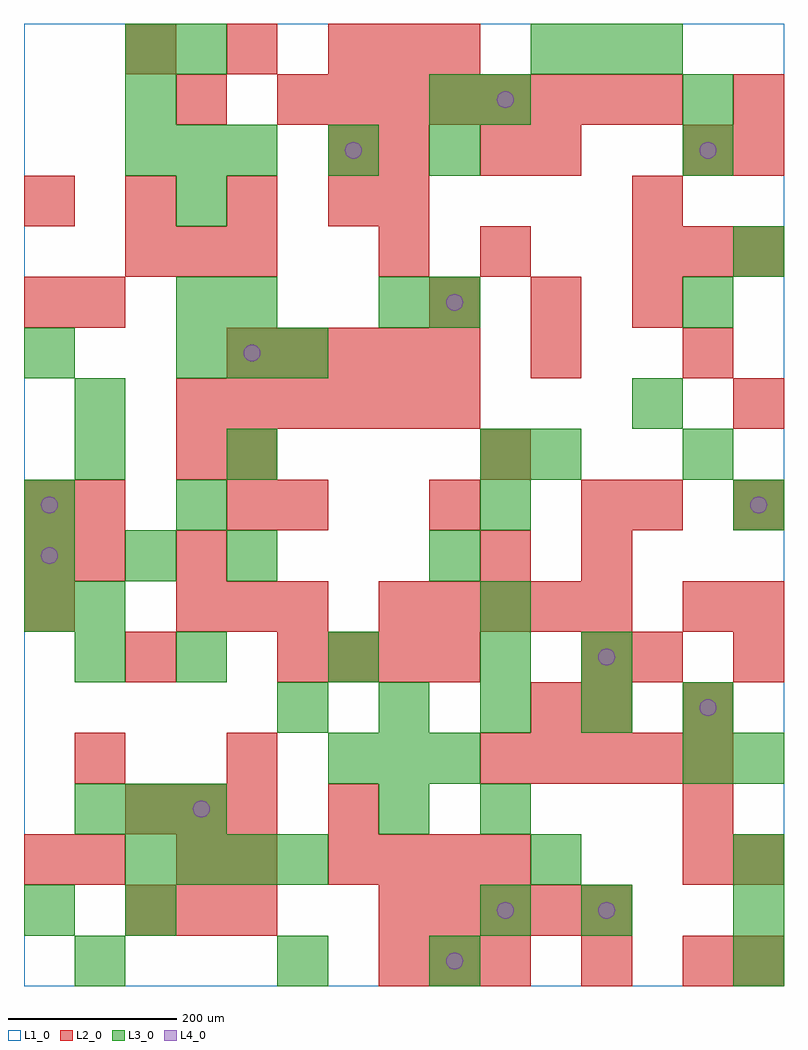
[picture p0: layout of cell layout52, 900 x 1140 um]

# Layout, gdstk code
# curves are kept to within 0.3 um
import gdstk
lib = gdstk.Library(unit=1e-6, precision=1e-09)
def R(c, l, rs):  # rectangles x0, y0, x1, y1
    for r in rs: c.add(gdstk.rectangle(r[:2], r[2:], *l))
def A(c, l, x, y, w, h, nx, ny, dx, dy):  # array of equal rectangles
    R(c, l, [(x+i*dx, y+j*dy, x+i*dx+w, y+j*dy+h) for i in range(nx) for j in range(ny)])
def P(c, l, *ps):  # polygons
    for p in ps: c.add(gdstk.Polygon(p, *l))
L1_0 = (1, 0)
L2_0 = (2, 0)
L3_0 = (3, 0)
L4_0 = (4, 0)

layout52 = lib.new_cell('layout52')
R(layout52, L1_0, [(0,0,900,1140)])
A(layout52, L2_0, 420, 0, 60, 60, 3, 1, 60, 0)
A(layout52, L2_0, 120, 60, 60, 60, 3, 2, 60, 120)
A(layout52, L2_0, 420, 60, 60, 60, 5, 2, 60, 360)
A(layout52, L2_0, 360, 120, 60, 60, 4, 1, 60, 0)
A(layout52, L2_0, 780, 180, 60, 60, 1, 3, 0, 120)
A(layout52, L2_0, 540, 240, 60, 60, 5, 1, 60, 0)
A(layout52, L2_0, 300, 360, 60, 60, 4, 1, 60, 0)
A(layout52, L2_0, 0, 420, 60, 60, 1, 3, 0, 60)
A(layout52, L2_0, 180, 420, 60, 60, 3, 1, 60, 0)
A(layout52, L2_0, 840, 420, 60, 60, 1, 3, 0, 120)
A(layout52, L2_0, 300, 540, 60, 60, 3, 1, 180, 0)
A(layout52, L2_0, 180, 660, 60, 60, 6, 1, 60, 0)
A(layout52, L2_0, 240, 720, 60, 60, 5, 1, 60, 0)
A(layout52, L2_0, 480, 780, 60, 60, 3, 1, 120, 0)
A(layout52, L2_0, 120, 840, 60, 60, 3, 1, 60, 0)
A(layout52, L2_0, 420, 840, 60, 60, 1, 3, 0, 60)
A(layout52, L2_0, 720, 840, 60, 60, 3, 1, 60, 0)
A(layout52, L2_0, 0, 900, 60, 60, 4, 1, 120, 0)
A(layout52, L2_0, 300, 1020, 60, 60, 8, 1, 60, 0)
A(layout52, L2_0, 120, 1080, 60, 60, 3, 1, 120, 0)
R(layout52, L2_0, [(660,0,720,60), (780,0,840,60), (840,0,900,60), (0,120,60,180), (60,120,120,180), (180,120,240,180), (240,120,300,180), (780,120,840,180), (840,120,900,180), (360,180,420,240), (60,240,120,300), (240,240,300,300), (600,300,660,360), (660,300,720,360), (120,360,180,420), (660,360,720,420), (720,360,780,420), (840,360,900,420), (60,480,120,540), (180,480,240,540), (540,480,600,540), (660,480,720,540), (60,540,120,600), (240,540,300,600), (720,540,780,600), (180,600,240,660), (240,600,300,660), (540,600,600,660), (600,720,660,780), (780,720,840,780), (0,780,60,840), (60,780,120,840), (540,840,600,900), (720,900,780,960), (360,960,420,1020), (540,960,600,1020), (600,960,660,1020), (780,960,840,1020), (840,960,900,1020), (180,1020,240,1080), (840,1020,900,1080), (420,1080,480,1140), (480,1080,540,1140)])
A(layout52, L3_0, 840, 0, 60, 60, 1, 3, 0, 60)
A(layout52, L3_0, 120, 120, 60, 60, 4, 1, 60, 0)
A(layout52, L3_0, 60, 180, 60, 60, 3, 1, 60, 0)
A(layout52, L3_0, 360, 240, 60, 60, 3, 1, 60, 0)
A(layout52, L3_0, 840, 240, 60, 60, 1, 3, 0, 300)
A(layout52, L3_0, 300, 300, 60, 60, 5, 1, 120, 0)
A(layout52, L3_0, 180, 360, 60, 60, 3, 1, 180, 0)
A(layout52, L3_0, 0, 480, 60, 60, 3, 1, 120, 0)
A(layout52, L3_0, 780, 600, 60, 60, 1, 3, 0, 180)
A(layout52, L3_0, 180, 720, 60, 60, 3, 1, 60, 0)
A(layout52, L3_0, 120, 960, 60, 60, 3, 1, 60, 0)
A(layout52, L3_0, 600, 1080, 60, 60, 3, 1, 60, 0)
R(layout52, L3_0, [(60,0,120,60), (300,0,360,60), (480,0,540,60), (0,60,60,120), (120,60,180,120), (540,60,600,120), (660,60,720,120), (600,120,660,180), (420,180,480,240), (540,180,600,240), (780,240,840,300), (60,360,120,420), (660,360,720,420), (0,420,60,480), (60,420,120,480), (540,420,600,480), (480,480,540,540), (0,540,60,600), (180,540,240,600), (540,540,600,600), (60,600,120,660), (240,600,300,660), (540,600,600,660), (600,600,660,660), (60,660,120,720), (720,660,780,720), (0,720,60,780), (180,780,240,840), (240,780,300,840), (420,780,480,840), (480,780,540,840), (180,900,240,960), (360,960,420,1020), (480,960,540,1020), (120,1020,180,1080), (480,1020,540,1080), (540,1020,600,1080), (780,1020,840,1080), (120,1080,180,1140), (180,1080,240,1140)])
P(layout52, L4_0, [(40,510),(39.239,513.827),(37.071,517.071),(33.827,519.239),(30,520),(26.173,519.239),(22.929,517.071),(20.761,513.827),(20,510),(20.761,506.173),(22.929,502.929),(26.173,500.761),(30,500),(33.827,500.761),(37.071,502.929),(39.239,506.173)],
  [(40,570),(39.239,573.827),(37.071,577.071),(33.827,579.239),(30,580),(26.173,579.239),(22.929,577.071),(20.761,573.827),(20,570),(20.761,566.173),(22.929,562.929),(26.173,560.761),(30,560),(33.827,560.761),(37.071,562.929),(39.239,566.173)],
  [(220,210),(219.239,213.827),(217.071,217.071),(213.827,219.239),(210,220),(206.173,219.239),(202.929,217.071),(200.761,213.827),(200,210),(200.761,206.173),(202.929,202.929),(206.173,200.761),(210,200),(213.827,200.761),(217.071,202.929),(219.239,206.173)],
  [(280,750),(279.239,753.827),(277.071,757.071),(273.827,759.239),(270,760),(266.173,759.239),(262.929,757.071),(260.761,753.827),(260,750),(260.761,746.173),(262.929,742.929),(266.173,740.761),(270,740),(273.827,740.761),(277.071,742.929),(279.239,746.173)],
  [(400,990),(399.239,993.827),(397.071,997.071),(393.827,999.239),(390,1000),(386.173,999.239),(382.929,997.071),(380.761,993.827),(380,990),(380.761,986.173),(382.929,982.929),(386.173,980.761),(390,980),(393.827,980.761),(397.071,982.929),(399.239,986.173)],
  [(520,30),(519.239,33.827),(517.071,37.071),(513.827,39.239),(510,40),(506.173,39.239),(502.929,37.071),(500.761,33.827),(500,30),(500.761,26.173),(502.929,22.929),(506.173,20.761),(510,20),(513.827,20.761),(517.071,22.929),(519.239,26.173)],
  [(520,810),(519.239,813.827),(517.071,817.071),(513.827,819.239),(510,820),(506.173,819.239),(502.929,817.071),(500.761,813.827),(500,810),(500.761,806.173),(502.929,802.929),(506.173,800.761),(510,800),(513.827,800.761),(517.071,802.929),(519.239,806.173)],
  [(580,90),(579.239,93.827),(577.071,97.071),(573.827,99.239),(570,100),(566.173,99.239),(562.929,97.071),(560.761,93.827),(560,90),(560.761,86.173),(562.929,82.929),(566.173,80.761),(570,80),(573.827,80.761),(577.071,82.929),(579.239,86.173)],
  [(580,1050),(579.239,1053.827),(577.071,1057.071),(573.827,1059.239),(570,1060),(566.173,1059.239),(562.929,1057.071),(560.761,1053.827),(560,1050),(560.761,1046.173),(562.929,1042.929),(566.173,1040.761),(570,1040),(573.827,1040.761),(577.071,1042.929),(579.239,1046.173)],
  [(700,90),(699.239,93.827),(697.071,97.071),(693.827,99.239),(690,100),(686.173,99.239),(682.929,97.071),(680.761,93.827),(680,90),(680.761,86.173),(682.929,82.929),(686.173,80.761),(690,80),(693.827,80.761),(697.071,82.929),(699.239,86.173)],
  [(700,390),(699.239,393.827),(697.071,397.071),(693.827,399.239),(690,400),(686.173,399.239),(682.929,397.071),(680.761,393.827),(680,390),(680.761,386.173),(682.929,382.929),(686.173,380.761),(690,380),(693.827,380.761),(697.071,382.929),(699.239,386.173)],
  [(820,330),(819.239,333.827),(817.071,337.071),(813.827,339.239),(810,340),(806.173,339.239),(802.929,337.071),(800.761,333.827),(800,330),(800.761,326.173),(802.929,322.929),(806.173,320.761),(810,320),(813.827,320.761),(817.071,322.929),(819.239,326.173)],
  [(820,990),(819.239,993.827),(817.071,997.071),(813.827,999.239),(810,1000),(806.173,999.239),(802.929,997.071),(800.761,993.827),(800,990),(800.761,986.173),(802.929,982.929),(806.173,980.761),(810,980),(813.827,980.761),(817.071,982.929),(819.239,986.173)],
  [(880,570),(879.239,573.827),(877.071,577.071),(873.827,579.239),(870,580),(866.173,579.239),(862.929,577.071),(860.761,573.827),(860,570),(860.761,566.173),(862.929,562.929),(866.173,560.761),(870,560),(873.827,560.761),(877.071,562.929),(879.239,566.173)])

lib.write_gds('layout52.gds')
